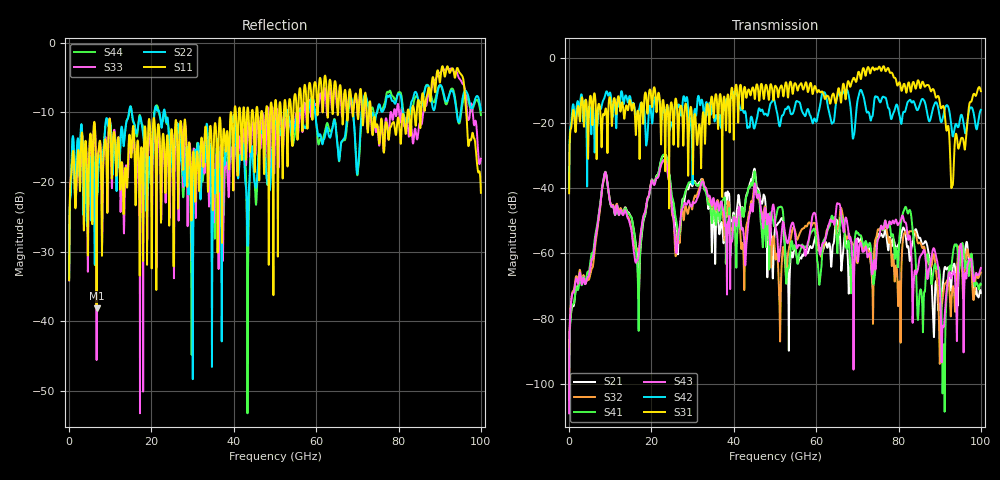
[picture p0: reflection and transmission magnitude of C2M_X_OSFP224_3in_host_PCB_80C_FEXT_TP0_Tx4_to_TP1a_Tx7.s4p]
# GHz S RI R 45
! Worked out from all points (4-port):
!   4000 points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, 25 MHz to 100 GHz, reference 45 ohm
!   strongest paths, dB at 25 MHz, 25.02 GHz, 50.02 GHz, 75.03 GHz, 100 GHz:
!     S31: -41.5, -14.7, -8.6, -3.2, -10.2
!     S42: -40.1, -20.8, -13.9, -12.3, -15.9
!     S43: -109.1, -46.8, -50.0, -55.6, -64.4
!     S41: -102.0, -42.6, -50.5, -55.3, -69.6
!     S32: -98.1, -48.0, -60.4, -52.6, -65.9
!     S21: -104.9, -43.7, -52.3, -54.0, -72.1
!   lowest |S11| = -38.2 dB at 6.675 GHz (marker M1), VSWR 1.02, Z = 45.6 - j0.972 ohm
!   |S11| at or under -10 dB: start of sweep to 39.27 GHz; 73.31 GHz to 82.17 GHz (8.863 GHz wide, 11.4 % of centre); 96.43 GHz to end of sweep (the widest 3 of 35)
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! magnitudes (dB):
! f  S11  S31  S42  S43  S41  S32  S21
! 25 MHz  -34.1  -41.5  -40.1  -109.1  -102.0  -98.1  -104.9
! 6.675 GHz  -38.2  -28.7  -19.3  -53.5  -52.4  -54.9  -53.4
! 16.82 GHz  -14.9  -17.0  -16.7  -61.3  -76.1  -59.2  -67.5
! 23.18 GHz  -16.2  -18.2  -16.0  -31.5  -29.8  -32.0  -30.4
! 51.17 GHz  -8.6  -9.4  -21.0  -59.7  -45.8  -80.2  -50.2
! 93.03 GHz  -3.7  -39.1  -23.2  -66.6  -61.9  -71.8  -65.9
! 100 GHz  -21.6  -10.2  -15.9  -64.4  -69.6  -65.9  -72.1
